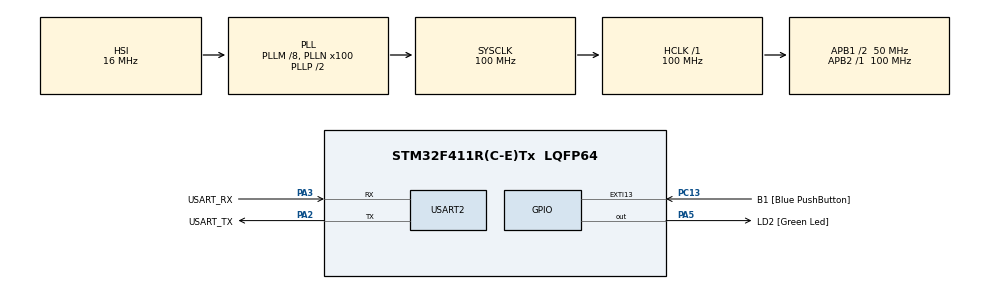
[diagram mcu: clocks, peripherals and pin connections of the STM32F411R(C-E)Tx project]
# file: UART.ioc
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Mcu.Family=STM32F4
Mcu.Name=STM32F411R(C-E)Tx
Mcu.Package=LQFP64
NVIC.PriorityGroup=NVIC_PRIORITYGROUP_0
NVIC.USART2_IRQn=true\:0\:0\:false\:false\:true\:true\:true\:true
PA13.GPIO_Label=TMS
PA13.Mode=Serial_Wire
PA13.Signal=SYS_JTMS-SWDIO
PA14.GPIO_Label=TCK
PA14.Mode=Serial_Wire
PA14.Signal=SYS_JTCK-SWCLK
PA2.GPIO_Label=USART_TX
PA2.Mode=Asynchronous
PA2.Signal=USART2_TX
PA3.GPIO_Label=USART_RX
PA3.Mode=Asynchronous
PA3.Signal=USART2_RX
PA5.GPIO_Label=LD2 [Green Led]
PA5.Signal=GPIO_Output
PB3.GPIO_Label=SWO
PB3.Signal=SYS_JTDO-SWO
PC13-ANTI_TAMP.GPIO_Label=B1 [Blue PushButton]
PC13-ANTI_TAMP.GPIO_ModeDefaultEXTI=GPIO_MODE_IT_FALLING
PC13-ANTI_TAMP.Signal=GPXTI13
PC14-OSC32_IN.Mode=LSE-External-Oscillator
PC14-OSC32_IN.Signal=RCC_OSC32_IN
PC15-OSC32_OUT.Mode=LSE-External-Oscillator
PC15-OSC32_OUT.Signal=RCC_OSC32_OUT
PH0\ -\ OSC_IN.Mode=HSE-External-Clock-Source
PH0\ -\ OSC_IN.Signal=RCC_OSC_IN
PH1\ -\ OSC_OUT.Mode=HSE-External-Clock-Source
PH1\ -\ OSC_OUT.Signal=RCC_OSC_OUT
ProjectManager.HeapSize=0x200
ProjectManager.StackSize=0x400
ProjectManager.TargetToolchain=STM32CubeIDE
RCC.48MHZClocksFreq_Value=50000000
RCC.AHBFreq_Value=100000000
RCC.APB1CLKDivider=RCC_HCLK_DIV2
RCC.APB1Freq_Value=50000000
RCC.APB1TimFreq_Value=100000000
RCC.APB2Freq_Value=100000000
RCC.APB2TimFreq_Value=100000000
RCC.CortexFreq_Value=100000000
RCC.FLatency-AdvancedSettings=FLASH_LATENCY_3
RCC.HCLKFreq_Value=100000000
RCC.HSE_VALUE=8000000
RCC.HSI_VALUE=16000000
RCC.PLLM=8
RCC.PLLN=100
RCC.SYSCLKFreq_VALUE=100000000
RCC.SYSCLKSource=RCC_SYSCLKSOURCE_PLLCLK
RCC.VCOOutputFreq_Value=200000000
USART2.VirtualMode=VM_ASYNC
board=NUCLEO-F411RE

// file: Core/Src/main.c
/* USER CODE BEGIN Header */
/**
  ******************************************************************************
  * @file           : main.c
  * @brief          : Main program body
  ******************************************************************************
  * @attention
  *
  * Copyright (c) 2026 STMicroelectronics.
  * All rights reserved.
  *
  * This software is licensed under terms that can be found in the LICENSE file
  * in the root directory of this software component.
  * If no LICENSE file comes with this software, it is provided AS-IS.
  *
  ******************************************************************************
  */
/* USER CODE END Header */
#include "main.h"

/* USER CODE BEGIN Includes */
#include <string.h>

/* USER CODE END Includes */

/* USER CODE BEGIN PD */
uint8_t rx_char;
char rx_buffer[20];
uint8_t rx_index = 0;

/* USER CODE END PD */

UART_HandleTypeDef huart2;

void SystemClock_Config(void);
static void MX_GPIO_Init(void);
static void MX_USART2_UART_Init(void);

int main(void)
{

  /* MCU Configuration--------------------------------------------------------*/

  /* Reset of all peripherals, Initializes the Flash interface and the Systick. */
  HAL_Init();

  /* Configure the system clock */
  SystemClock_Config();

  /* Initialize all configured peripherals */
  MX_GPIO_Init();
  MX_USART2_UART_Init();
  /* USER CODE BEGIN 2 */
  HAL_UART_Receive_IT(&huart2, &rx_char, 1);
  /* USER CODE END 2 */

  /* Infinite loop */
  while (1)
  {

  }
}

void SystemClock_Config(void)
{
  RCC_OscInitTypeDef RCC_OscInitStruct = {0};
  RCC_ClkInitTypeDef RCC_ClkInitStruct = {0};

  /** Configure the main internal regulator output voltage
  */
  __HAL_RCC_PWR_CLK_ENABLE();
  __HAL_PWR_VOLTAGESCALING_CONFIG(PWR_REGULATOR_VOLTAGE_SCALE1);

  /** Initializes the RCC Oscillators according to the specified parameters
  * in the RCC_OscInitTypeDef structure.
  */
  RCC_OscInitStruct.OscillatorType = RCC_OSCILLATORTYPE_HSI;
  RCC_OscInitStruct.HSIState = RCC_HSI_ON;
  RCC_OscInitStruct.HSICalibrationValue = RCC_HSICALIBRATION_DEFAULT;
  RCC_OscInitStruct.PLL.PLLState = RCC_PLL_ON;
  RCC_OscInitStruct.PLL.PLLSource = RCC_PLLSOURCE_HSI;
  RCC_OscInitStruct.PLL.PLLM = 8;
  RCC_OscInitStruct.PLL.PLLN = 100;
  RCC_OscInitStruct.PLL.PLLP = RCC_PLLP_DIV2;
  RCC_OscInitStruct.PLL.PLLQ = 4;
  if (HAL_RCC_OscConfig(&RCC_OscInitStruct) != HAL_OK)
  {
    Error_Handler();
  }

  /** Initializes the CPU, AHB and APB buses clocks
  */
  RCC_ClkInitStruct.ClockType = RCC_CLOCKTYPE_HCLK|RCC_CLOCKTYPE_SYSCLK
                              |RCC_CLOCKTYPE_PCLK1|RCC_CLOCKTYPE_PCLK2;
  RCC_ClkInitStruct.SYSCLKSource = RCC_SYSCLKSOURCE_PLLCLK;
  RCC_ClkInitStruct.AHBCLKDivider = RCC_SYSCLK_DIV1;
  RCC_ClkInitStruct.APB1CLKDivider = RCC_HCLK_DIV2;
  RCC_ClkInitStruct.APB2CLKDivider = RCC_HCLK_DIV1;

  if (HAL_RCC_ClockConfig(&RCC_ClkInitStruct, FLASH_LATENCY_3) != HAL_OK)
  {
    Error_Handler();
  }
}

static void MX_USART2_UART_Init(void)
{

  huart2.Instance = USART2;
  huart2.Init.BaudRate = 115200;
  huart2.Init.WordLength = UART_WORDLENGTH_8B;
  huart2.Init.StopBits = UART_STOPBITS_1;
  huart2.Init.Parity = UART_PARITY_NONE;
  huart2.Init.Mode = UART_MODE_TX_RX;
  huart2.Init.HwFlowCtl = UART_HWCONTROL_NONE;
  huart2.Init.OverSampling = UART_OVERSAMPLING_16;
  if (HAL_UART_Init(&huart2) != HAL_OK)
  {
    Error_Handler();
  }

}

static void MX_GPIO_Init(void)
{
  GPIO_InitTypeDef GPIO_InitStruct = {0};

  /* GPIO Ports Clock Enable */
  __HAL_RCC_GPIOC_CLK_ENABLE();
  __HAL_RCC_GPIOH_CLK_ENABLE();
  __HAL_RCC_GPIOA_CLK_ENABLE();
  __HAL_RCC_GPIOB_CLK_ENABLE();

  /*Configure GPIO pin Output Level */
  HAL_GPIO_WritePin(LD2_GPIO_Port, LD2_Pin, GPIO_PIN_RESET);

  /*Configure GPIO pin : B1_Pin */
  GPIO_InitStruct.Pin = B1_Pin;
  GPIO_InitStruct.Mode = GPIO_MODE_IT_FALLING;
  GPIO_InitStruct.Pull = GPIO_NOPULL;
  HAL_GPIO_Init(B1_GPIO_Port, &GPIO_InitStruct);

  /*Configure GPIO pin : LD2_Pin */
  GPIO_InitStruct.Pin = LD2_Pin;
  GPIO_InitStruct.Mode = GPIO_MODE_OUTPUT_PP;
  GPIO_InitStruct.Pull = GPIO_NOPULL;
  GPIO_InitStruct.Speed = GPIO_SPEED_FREQ_LOW;
  HAL_GPIO_Init(LD2_GPIO_Port, &GPIO_InitStruct);

}

/* USER CODE BEGIN 4 */
void HAL_UART_RxCpltCallback(UART_HandleTypeDef *huart)
{
    if(huart->Instance == USART2)
    {
        if(rx_char != '\r' && rx_char != '\n')
        {
            rx_buffer[rx_index++] = rx_char;
        }
        else
        {
            rx_buffer[rx_index] = '\0';

            if(strcmp(rx_buffer, "on") == 0)
            {
                HAL_GPIO_WritePin(LD2_GPIO_Port, LD2_Pin, GPIO_PIN_SET);
                HAL_UART_Transmit(&huart2, (uint8_t*)"LED ON\r\n", 8, 100);
            }
            else if(strcmp(rx_buffer, "off") == 0)
            {
                HAL_GPIO_WritePin(LD2_GPIO_Port, LD2_Pin, GPIO_PIN_RESET);
                HAL_UART_Transmit(&huart2, (uint8_t*)"LED OFF\r\n", 9, 100);
            }

            rx_index = 0;
        }

        HAL_UART_Receive_IT(&huart2, &rx_char, 1); // nhận tiếp
    }
}

/* USER CODE END 4 */

void Error_Handler(void)
{
  __disable_irq();
  while (1)
  {
  }
}
